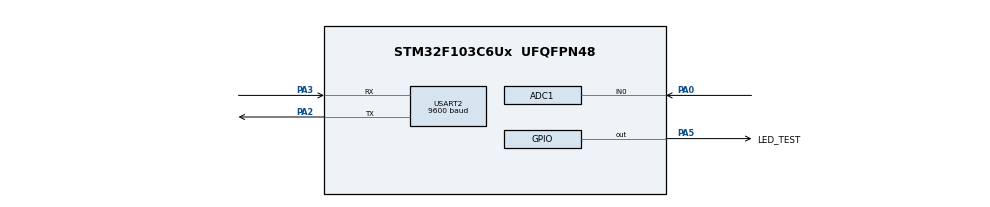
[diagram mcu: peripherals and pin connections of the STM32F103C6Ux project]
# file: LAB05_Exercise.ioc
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ADC1.Channel-0\#ChannelRegularConversion=ADC_CHANNEL_0
ADC1.ContinuousConvMode=ENABLE
ADC1.NbrOfConversionFlag=1
ADC1.Rank-0\#ChannelRegularConversion=1
ADC1.SamplingTime-0\#ChannelRegularConversion=ADC_SAMPLETIME_1CYCLE_5
ADC1.master=1
Mcu.Family=STM32F1
Mcu.Name=STM32F103C6Ux
Mcu.Package=UFQFPN48
NVIC.PriorityGroup=NVIC_PRIORITYGROUP_4
NVIC.TIM2_IRQn=true\:0\:0\:false\:false\:true\:true\:true
NVIC.USART2_IRQn=true\:0\:0\:false\:false\:true\:true\:true
PA0-WKUP.Signal=ADCx_IN0
PA2.Mode=Asynchronous
PA2.Signal=USART2_TX
PA3.Mode=Asynchronous
PA3.Signal=USART2_RX
PA5.GPIO_Label=LED_TEST
PA5.Signal=GPIO_Output
ProjectManager.HeapSize=0x200
ProjectManager.StackSize=0x400
ProjectManager.TargetToolchain=STM32CubeIDE
RCC.APB1Freq_Value=8000000
RCC.APB2Freq_Value=8000000
SH.ADCx_IN0.0=ADC1_IN0,IN0
TIM2.Period=9
TIM2.Prescaler=7999
USART2.BaudRate=9600
USART2.VirtualMode=VM_ASYNC
VP_SYS_VS_ND.Mode=No_Debug
VP_TIM2_VS_ClockSourceINT.Mode=Internal
board=custom

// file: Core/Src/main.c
/* USER CODE BEGIN Header */
/**
  ******************************************************************************
  * @file           : main.c
  * @brief          : Main program body
  ******************************************************************************
  * @attention
  *
  * <h2><center>&copy; Copyright (c) 2024 STMicroelectronics.
  * All rights reserved.</center></h2>
  *
  * This software component is licensed by ST under BSD 3-Clause license,
  * the "License"; You may not use this file except in compliance with the
  * License. You may obtain a copy of the License at:
  *                        opensource.org/licenses/BSD-3-Clause
  *
  ******************************************************************************
  */
/* USER CODE END Header */
#include "main.h"
#include "global.h"
/* USER CODE BEGIN Includes */
#include "time_set.h"
#include "string.h"
#include <stdio.h>
/* USER CODE END Includes */

ADC_HandleTypeDef hadc1;

TIM_HandleTypeDef htim2;

UART_HandleTypeDef huart2;

void SystemClock_Config(void);
static void MX_GPIO_Init(void);
static void MX_USART2_UART_Init(void);
static void MX_ADC1_Init(void);
static void MX_TIM2_Init(void);

/* USER CODE BEGIN 0 */
/*!RST#*/
void checkRST() {
    uint8_t index = index_buffer;

    if (index < 5) {
        rst_flag = 0;
        return;
    }
    if (buffer[index - 5] == '!' && buffer[index - 4] == 'R' && buffer[index - 3] == 'S'
    	&& buffer[index - 2] == 'T' && buffer[index - 1] == '#') {
        rst_flag = 1;
    } else {
        rst_flag = 0;
    }
}
/*!OK#*/
void checkOK() {
    uint8_t index = index_buffer;

    if (index < 4) {
        ok_flag = 0;
        return;
    }
    if (buffer[index - 4] == '!' && buffer[index - 3] == 'O' && buffer[index - 2] == 'K'
    	&& buffer[index - 1] == '#') {
        ok_flag = 1;
    } else {
        ok_flag = 0;
    }
}

void command_parser_fsm() {
    switch (command_mode) {
        case 0:
            checkRST();
            if (rst_flag == 1) {
                rst_flag = 0;
                uart_state = UART_PROCESSING;
                HAL_UART_Transmit(&huart2, (uint8_t *)"Start communicating\r\n", strlen("Start communicating\r\n"), 1000);
                command_mode = 1;
                start_flag = 1;
            }
            break;

        case 1:
            checkOK();
            if (ok_flag == 1) {
                ok_flag = 0;
                HAL_UART_Transmit(&huart2, (uint8_t *)"Stop communicating\r\n", strlen("Stop communicating\r\n"), 1000);
                uart_state = UART_IDLE;
                command_mode = 0;
            }
            break;

        default:
            command_mode = 0;
            break;
    }
}

void uart_communication_fsm() {
    switch (uart_state) {
        case UART_IDLE:
            break;

        case UART_PROCESSING:
            if (start_flag == 1) {
            	start_flag = 0;
                ADC_value = HAL_ADC_GetValue(&hadc1);
            }
            HAL_UART_Transmit(&huart2, (void *)str, sprintf(str, "\r!ADC=%lu#\r\n", ADC_value), 1000);
            setTimer(1, 3000);
            uart_state = UART_WAIT;
            break;
        case UART_WAIT:
        	if(timer_flag[1]){
        		uart_state = UART_PROCESSING;
        	}
        default:
            break;
    }
}

/* USER CODE END 0 */

int main(void)
{

  /* MCU Configuration--------------------------------------------------------*/

  /* Reset of all peripherals, Initializes the Flash interface and the Systick. */
  HAL_Init();

  /* Configure the system clock */
  SystemClock_Config();

  /* Initialize all configured peripherals */
  MX_GPIO_Init();
  MX_USART2_UART_Init();
  MX_ADC1_Init();
  MX_TIM2_Init();
  /* USER CODE BEGIN 2 */
  HAL_ADC_Start(&hadc1);
  HAL_TIM_Base_Start_IT(&htim2);
  HAL_UART_Receive_IT (&huart2 , &temp , 1) ;
  /* USER CODE END 2 */

  /* Infinite loop */
  /* USER CODE BEGIN WHILE */
  setTimer(1, 3000);
  setTimer(2, 500); //500ms
  HAL_UART_Transmit(&huart2, (uint8_t *)"Enter your command: ", strlen("Enter your command: "), 1000);
  while (1)
  {
	  if(timer_flag[2]){
		HAL_GPIO_TogglePin(LED_TEST_GPIO_Port, LED_TEST_Pin);
		setTimer(2, 500);
	  }
  	  if(buffer_flag == 1){
  		  command_parser_fsm();
  		  buffer_flag = 0;
  	  }
  	  uart_communication_fsm();

    /* USER CODE END WHILE */

  }
}

void SystemClock_Config(void)
{
  RCC_OscInitTypeDef RCC_OscInitStruct = {0};
  RCC_ClkInitTypeDef RCC_ClkInitStruct = {0};
  RCC_PeriphCLKInitTypeDef PeriphClkInit = {0};

  /** Initializes the RCC Oscillators according to the specified parameters
  * in the RCC_OscInitTypeDef structure.
  */
  RCC_OscInitStruct.OscillatorType = RCC_OSCILLATORTYPE_HSI;
  RCC_OscInitStruct.HSIState = RCC_HSI_ON;
  RCC_OscInitStruct.HSICalibrationValue = RCC_HSICALIBRATION_DEFAULT;
  RCC_OscInitStruct.PLL.PLLState = RCC_PLL_NONE;
  if (HAL_RCC_OscConfig(&RCC_OscInitStruct) != HAL_OK)
  {
    Error_Handler();
  }
  /** Initializes the CPU, AHB and APB buses clocks
  */
  RCC_ClkInitStruct.ClockType = RCC_CLOCKTYPE_HCLK|RCC_CLOCKTYPE_SYSCLK
                              |RCC_CLOCKTYPE_PCLK1|RCC_CLOCKTYPE_PCLK2;
  RCC_ClkInitStruct.SYSCLKSource = RCC_SYSCLKSOURCE_HSI;
  RCC_ClkInitStruct.AHBCLKDivider = RCC_SYSCLK_DIV1;
  RCC_ClkInitStruct.APB1CLKDivider = RCC_HCLK_DIV1;
  RCC_ClkInitStruct.APB2CLKDivider = RCC_HCLK_DIV1;

  if (HAL_RCC_ClockConfig(&RCC_ClkInitStruct, FLASH_LATENCY_0) != HAL_OK)
  {
    Error_Handler();
  }
  PeriphClkInit.PeriphClockSelection = RCC_PERIPHCLK_ADC;
  PeriphClkInit.AdcClockSelection = RCC_ADCPCLK2_DIV2;
  if (HAL_RCCEx_PeriphCLKConfig(&PeriphClkInit) != HAL_OK)
  {
    Error_Handler();
  }
}

static void MX_ADC1_Init(void)
{

  ADC_ChannelConfTypeDef sConfig = {0};

  /** Common config
  */
  hadc1.Instance = ADC1;
  hadc1.Init.ScanConvMode = ADC_SCAN_DISABLE;
  hadc1.Init.ContinuousConvMode = ENABLE;
  hadc1.Init.DiscontinuousConvMode = DISABLE;
  hadc1.Init.ExternalTrigConv = ADC_SOFTWARE_START;
  hadc1.Init.DataAlign = ADC_DATAALIGN_RIGHT;
  hadc1.Init.NbrOfConversion = 1;
  if (HAL_ADC_Init(&hadc1) != HAL_OK)
  {
    Error_Handler();
  }
  /** Configure Regular Channel
  */
  sConfig.Channel = ADC_CHANNEL_0;
  sConfig.Rank = ADC_REGULAR_RANK_1;
  sConfig.SamplingTime = ADC_SAMPLETIME_1CYCLE_5;
  if (HAL_ADC_ConfigChannel(&hadc1, &sConfig) != HAL_OK)
  {
    Error_Handler();
  }

}

static void MX_TIM2_Init(void)
{

  TIM_ClockConfigTypeDef sClockSourceConfig = {0};
  TIM_MasterConfigTypeDef sMasterConfig = {0};

  htim2.Instance = TIM2;
  htim2.Init.Prescaler = 7999;
  htim2.Init.CounterMode = TIM_COUNTERMODE_UP;
  htim2.Init.Period = 9;
  htim2.Init.ClockDivision = TIM_CLOCKDIVISION_DIV1;
  htim2.Init.AutoReloadPreload = TIM_AUTORELOAD_PRELOAD_DISABLE;
  if (HAL_TIM_Base_Init(&htim2) != HAL_OK)
  {
    Error_Handler();
  }
  sClockSourceConfig.ClockSource = TIM_CLOCKSOURCE_INTERNAL;
  if (HAL_TIM_ConfigClockSource(&htim2, &sClockSourceConfig) != HAL_OK)
  {
    Error_Handler();
  }
  sMasterConfig.MasterOutputTrigger = TIM_TRGO_RESET;
  sMasterConfig.MasterSlaveMode = TIM_MASTERSLAVEMODE_DISABLE;
  if (HAL_TIMEx_MasterConfigSynchronization(&htim2, &sMasterConfig) != HAL_OK)
  {
    Error_Handler();
  }

}

static void MX_USART2_UART_Init(void)
{

  huart2.Instance = USART2;
  huart2.Init.BaudRate = 9600;
  huart2.Init.WordLength = UART_WORDLENGTH_8B;
  huart2.Init.StopBits = UART_STOPBITS_1;
  huart2.Init.Parity = UART_PARITY_NONE;
  huart2.Init.Mode = UART_MODE_TX_RX;
  huart2.Init.HwFlowCtl = UART_HWCONTROL_NONE;
  huart2.Init.OverSampling = UART_OVERSAMPLING_16;
  if (HAL_UART_Init(&huart2) != HAL_OK)
  {
    Error_Handler();
  }

}

static void MX_GPIO_Init(void)
{
  GPIO_InitTypeDef GPIO_InitStruct = {0};

  /* GPIO Ports Clock Enable */
  __HAL_RCC_GPIOA_CLK_ENABLE();

  /*Configure GPIO pin Output Level */
  HAL_GPIO_WritePin(LED_TEST_GPIO_Port, LED_TEST_Pin, GPIO_PIN_RESET);

  /*Configure GPIO pin : LED_TEST_Pin */
  GPIO_InitStruct.Pin = LED_TEST_Pin;
  GPIO_InitStruct.Mode = GPIO_MODE_OUTPUT_PP;
  GPIO_InitStruct.Pull = GPIO_NOPULL;
  GPIO_InitStruct.Speed = GPIO_SPEED_FREQ_LOW;
  HAL_GPIO_Init(LED_TEST_GPIO_Port, &GPIO_InitStruct);

}

/* USER CODE BEGIN 4 */
void HAL_UART_RxCpltCallback (UART_HandleTypeDef *huart) {
	if (huart->Instance == USART2) {
		buffer[index_buffer++] = temp;
		if (index_buffer >= MAX_BUFFER_SIZE) {
			index_buffer = 0;
		}
		buffer_flag = 1;
		HAL_UART_Receive_IT(&huart2, &temp, 1);
	}
}
void HAL_TIM_PeriodElapsedCallback ( TIM_HandleTypeDef * htim )
{
	runTimer();
}
/* USER CODE END 4 */

void Error_Handler(void)
{
  __disable_irq();
  while (1)
  {
  }
}

/************************ (C) COPYRIGHT STMicroelectronics *****END OF FILE****/
